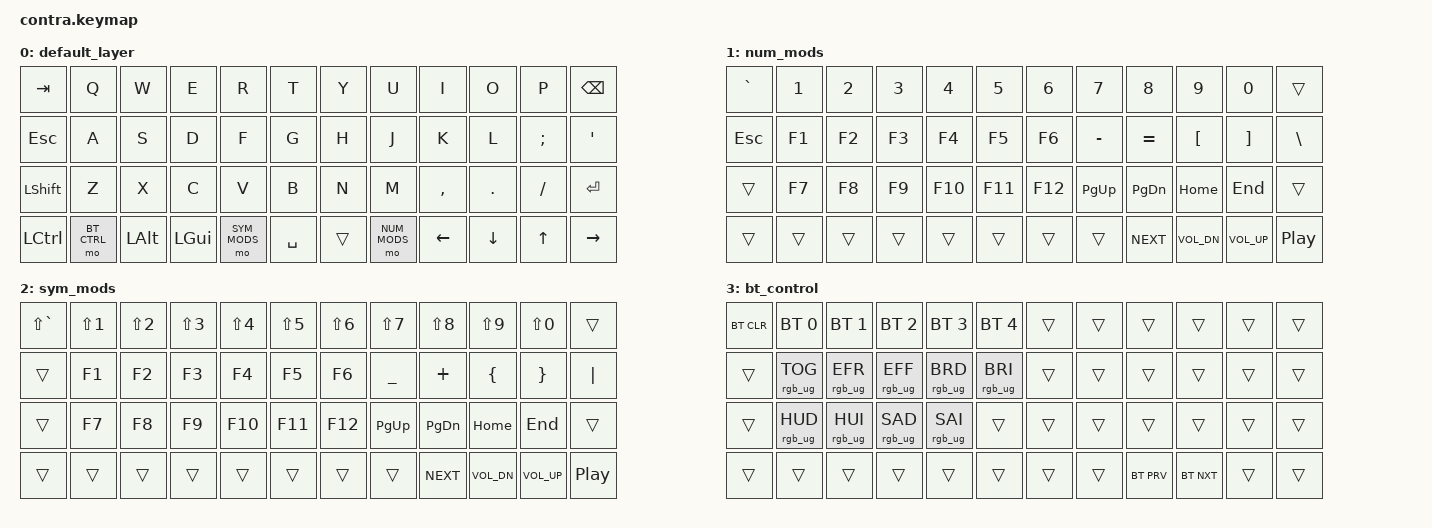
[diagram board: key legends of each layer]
/*
 * Copyright (c) 2021 The ZMK Contributors
 *
 * SPDX-License-Identifier: MIT
 */

#include <behaviors.dtsi>
#include <dt-bindings/zmk/keys.h>
#include <dt-bindings/zmk/bt.h>
#include <dt-bindings/zmk/rgb.h>

#define DEFAULT  0
#define NUM_MODS 1
#define SYM_MODS 2
#define BT_CTRL  3

/ {
    keymap {
        compatible = "zmk,keymap";

        default_layer {
            bindings = <
    &kp TAB   &kp Q     &kp W    &kp E     &kp R       &kp T      &kp Y     &kp U        &kp I     &kp O     &kp P    &kp BSPC
    &kp ESC   &kp A     &kp S    &kp D     &kp F       &kp G      &kp H     &kp J        &kp K     &kp L     &kp SEMI &kp SQT
    &kp LSHFT &kp Z     &kp X    &kp C     &kp V       &kp B      &kp N     &kp M        &kp COMMA &kp DOT   &kp FSLH &kp ENTER
    &kp LCTRL &mo BT_CTRL  &kp LALT &kp LGUI  &mo SYM_MODS &kp SPACE  &trans    &mo NUM_MODS &kp LEFT  &kp DOWN &kp UP &kp RIGHT  
            >;
        };

        num_mods {
            bindings = <
   &kp GRAVE    &kp N1    &kp N2    &kp N3    &kp N4     &kp N5     &kp N6     &kp N7       &kp N8        &kp N9          &kp N0          &trans
				&kp ESC      &kp F1    &kp F2    &kp F3    &kp F4     &kp F5     &kp F6     &kp MINUS    &kp EQUAL     &kp LBKT        &kp RBKT        &kp BSLH
				&trans       &kp F7    &kp F8    &kp F9    &kp F10    &kp F11    &kp F12    &kp PG_UP    &kp PG_DN     &kp HOME        &kp END         &trans
				&trans       &trans    &trans    &trans   &trans      &trans     &trans     &trans       &kp C_NEXT    &kp C_VOL_DN    &kp C_VOL_UP    &kp C_PP
            >;
        };

        sym_mods {
            bindings = <
    &kp LS(GRAVE)    &kp LS(N1)    &kp LS(N2)    &kp LS(N3)    &kp LS(N4)    &kp LS(N5)    &kp LS(N6)    &kp LS(N7)    &kp LS(N8)    &kp LS(N9)      &kp LS(N0)      &trans
				&trans           &kp F1        &kp F2        &kp F3        &kp F4        &kp F5        &kp F6        &kp UNDER     &kp PLUS      &kp LBRC        &kp RBRC        &kp PIPE
				&trans           &kp F7        &kp F8        &kp F9        &kp F10       &kp F11       &kp F12       &kp PG_UP     &kp PG_DN     &kp HOME        &kp END         &trans
				&trans           &trans        &trans        &trans        &trans        &trans        &trans        &trans         &kp C_NEXT    &kp C_VOL_DN    &kp C_VOL_UP    &kp C_PP
            >;
        };

        bt_control {
            bindings = <
    &bt BT_CLR &bt BT_SEL 0 &bt BT_SEL 1 &bt BT_SEL 2 &bt BT_SEL 3 &bt BT_SEL 4 &trans    &trans    &trans     &trans     &trans   &trans
    &trans     &rgb_ug RGB_TOG       &rgb_ug RGB_EFR       &rgb_ug RGB_EFF       &rgb_ug RGB_BRD      &rgb_ug RGB_BRI       &trans    &trans    &trans     &trans     &trans   &trans
    &trans     &rgb_ug RGB_HUD       &rgb_ug RGB_HUI       &rgb_ug RGB_SAD       &rgb_ug RGB_SAI       &trans       &trans    &trans    &trans     &trans     &trans   &trans
    &trans     &trans       &trans       &trans       &trans       &trans       &trans    &trans    &bt BT_PRV &bt BT_NXT &trans   &trans
            >;
        };
    };
};
